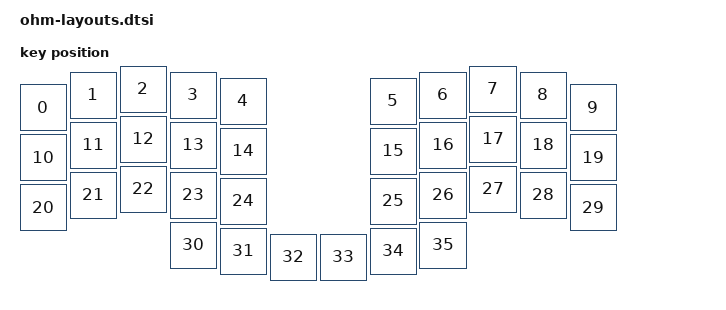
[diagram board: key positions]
#include <dt-bindings/zmk/matrix_transform.h> // Put this with the other includes at the top of your dtsi
#include <physical_layouts.dtsi>

// Physical layout node
/ {
    physical_layout0: physical_layout_0 {
        compatible = "zmk,physical-layout";
        display-name = "Default";

        kscan = <&kscan0>;
        transform = <&default_transform>;

        keys  //                     w   h    x    y     rot    rx    ry
            = <&key_physical_attrs 100 100    0   37       0     0     0>
            , <&key_physical_attrs 100 100  100   12       0     0     0>
            , <&key_physical_attrs 100 100  200    0       0     0     0>
            , <&key_physical_attrs 100 100  300   12       0     0     0>
            , <&key_physical_attrs 100 100  400   24       0     0     0>
            , <&key_physical_attrs 100 100  700   24       0     0     0>
            , <&key_physical_attrs 100 100  800   12       0     0     0>
            , <&key_physical_attrs 100 100  900    0       0     0     0>
            , <&key_physical_attrs 100 100 1000   12       0     0     0>
            , <&key_physical_attrs 100 100 1100   37       0     0     0>
            , <&key_physical_attrs 100 100    0  137       0     0     0>
            , <&key_physical_attrs 100 100  100  112       0     0     0>
            , <&key_physical_attrs 100 100  200  100       0     0     0>
            , <&key_physical_attrs 100 100  300  112       0     0     0>
            , <&key_physical_attrs 100 100  400  124       0     0     0>
            , <&key_physical_attrs 100 100  700  124       0     0     0>
            , <&key_physical_attrs 100 100  800  112       0     0     0>
            , <&key_physical_attrs 100 100  900  100       0     0     0>
            , <&key_physical_attrs 100 100 1000  112       0     0     0>
            , <&key_physical_attrs 100 100 1100  137       0     0     0>
            , <&key_physical_attrs 100 100    0  237       0     0     0>
            , <&key_physical_attrs 100 100  100  212       0     0     0>
            , <&key_physical_attrs 100 100  200  200       0     0     0>
            , <&key_physical_attrs 100 100  300  212       0     0     0>
            , <&key_physical_attrs 100 100  400  224       0     0     0>
            , <&key_physical_attrs 100 100  700  224       0     0     0>
            , <&key_physical_attrs 100 100  800  212       0     0     0>
            , <&key_physical_attrs 100 100  900  200       0     0     0>
            , <&key_physical_attrs 100 100 1000  212       0     0     0>
            , <&key_physical_attrs 100 100 1100  237       0     0     0>
            , <&key_physical_attrs 100 100  300  312       0     0     0>
            , <&key_physical_attrs 100 100  400  324       0     0     0>
            , <&key_physical_attrs 100 100  500  336       0     0     0>
            , <&key_physical_attrs 100 100  600  336       0     0     0>
            , <&key_physical_attrs 100 100  700  324       0     0     0>
            , <&key_physical_attrs 100 100  800  312       0     0     0>
            ;
    };
};

/ {
    chosen {
        zmk,physical-layout = &physical_layout0;
        // Other chosen items
    };
};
